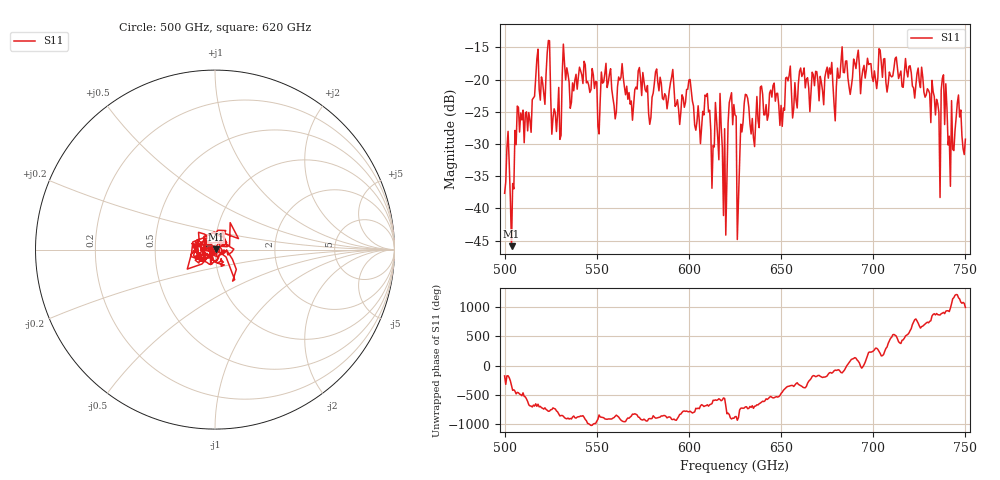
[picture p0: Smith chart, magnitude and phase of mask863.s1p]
!Created with skrf (http://scikit-rf.org).
# GHz S MA R 50.0
!freq magS11 angS11
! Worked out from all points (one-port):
!   401 points, 500 GHz to 750 GHz, reference 50 ohm
!   lowest |S11| = -45.8 dB at 503.8 GHz (marker M1), VSWR 1.01, Z = 50.5 + j0.161 ohm
!   |S11| at or under -10 dB: start of sweep to end of sweep
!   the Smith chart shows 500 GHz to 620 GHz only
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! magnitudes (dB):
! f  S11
! 500 GHz  -37.6
! 503.8 GHz  -45.8
! 506.9 GHz  -24.1
! 513.8 GHz  -26.3
! 516.9 GHz  -19.7
! 523.8 GHz  -13.9
! 526.9 GHz  -24.5
! 531.2 GHz  -19.3
! 559.4 GHz  -24.0
! 562.5 GHz  -20.1
! 593.8 GHz  -23.1
! 610 GHz  -22.2
! 612.5 GHz  -36.9
! 618.1 GHz  -30.6
! 619.4 GHz  -27.6
! 622.5 GHz  -22.8
! 625 GHz  -25.5
! 627.5 GHz  -32.8
! 631.2 GHz  -22.4
! 634.4 GHz  -26.0
! 656.2 GHz  -26.0
! 687.5 GHz  -22.3
! 718.8 GHz  -19.6
! 735 GHz  -23.7
! 738.1 GHz  -19.3
! 742.5 GHz  -23.3
! 746.2 GHz  -22.4
! 750 GHz  -29.2
